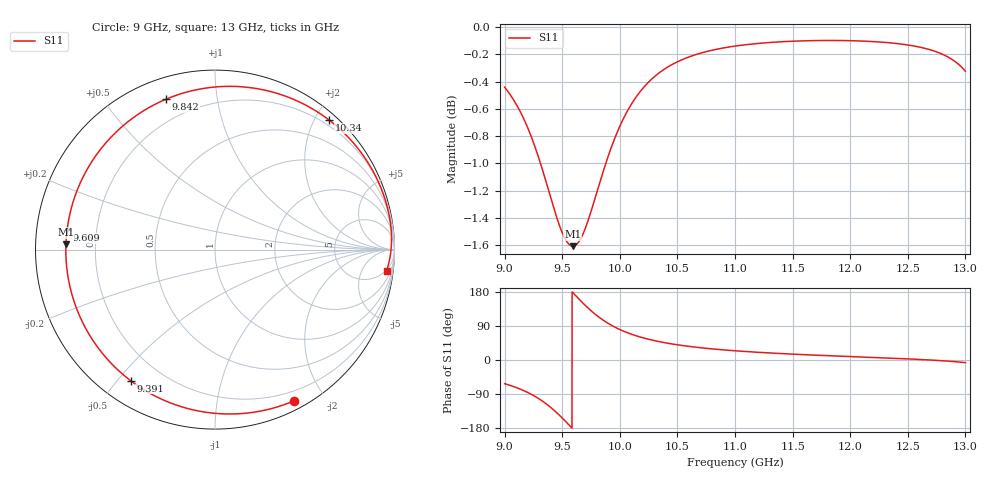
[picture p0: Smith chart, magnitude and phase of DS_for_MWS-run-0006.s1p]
! TOUCHSTONE file generated by CST DESIGN STUDIO
! Date and time: Tue Feb  4 18:22:15 2025
! Project name: C:\Work\MatlabApps\UnitCellOptimizationMatlab\CST\unitcell.cst
! Tree item: Tasks\Sweep1\SPara1\S-Parameters
! Header version: 2024
! Port assignment regex: !\s*Touchstone port\s*([0-9]+)\s*=\s*(CST MWS port|CST DES external port|CST DES block port)\s*(.+)\s* \(\"(.*)\"\)(\s*mode\s*([0-9]+))?.*
! Touchstone port assignment:
! Touchstone port 1 = CST DES external port 1 ("")
# GHz S MA R 50
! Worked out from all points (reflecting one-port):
!   4001 points, 9 GHz to 13 GHz, reference 50 ohm
!   lowest |S11| = -1.6 dB at 9.592 GHz (marker M1), VSWR 10.84, Z = 4.61 + j0.909 ohm
!   phase of S11 starts at -63 deg and turns -305 deg over the sweep
!   S11 on the Smith chart (normalised r, x): 9 GHz: 0.09, -1.64; 9.391 GHz: 0.09, -0.54; 9.609 GHz: 0.09, +0.07; 9.842 GHz: 0.10, +0.72; 10.34 GHz: 0.11, +2.20; 13 GHz: 5, -15
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9  0.9505 -62.5
9.117  0.9343 -74.6
9.237  0.9103 -91.4
9.319  0.8892 -106.5
9.391  0.8685 -122.8
9.445  0.8534 -137.0
9.5  0.8406 -153.0
9.547  0.8335 -167.6
9.592  0.8311 177.9
9.609  0.8314 172.4
9.666  0.8372 154.4
9.73  0.8506 135.6
9.785  0.8653 121.1
9.842  0.8813 108.0
9.914  0.9004 93.9
10  0.9196 80.4
10.075  0.933 70.9
10.155  0.9444 62.6
10.242  0.9539 55.3
10.337  0.9617 48.8
10.5  0.9711 40.1
10.72  0.9787 31.8
11  0.9841 24.3
11.5  0.9881 15.5
12  0.9886 9.1
12.5  0.985 2.9
12.785  0.978 -1.6
13  0.9634 -7.0
